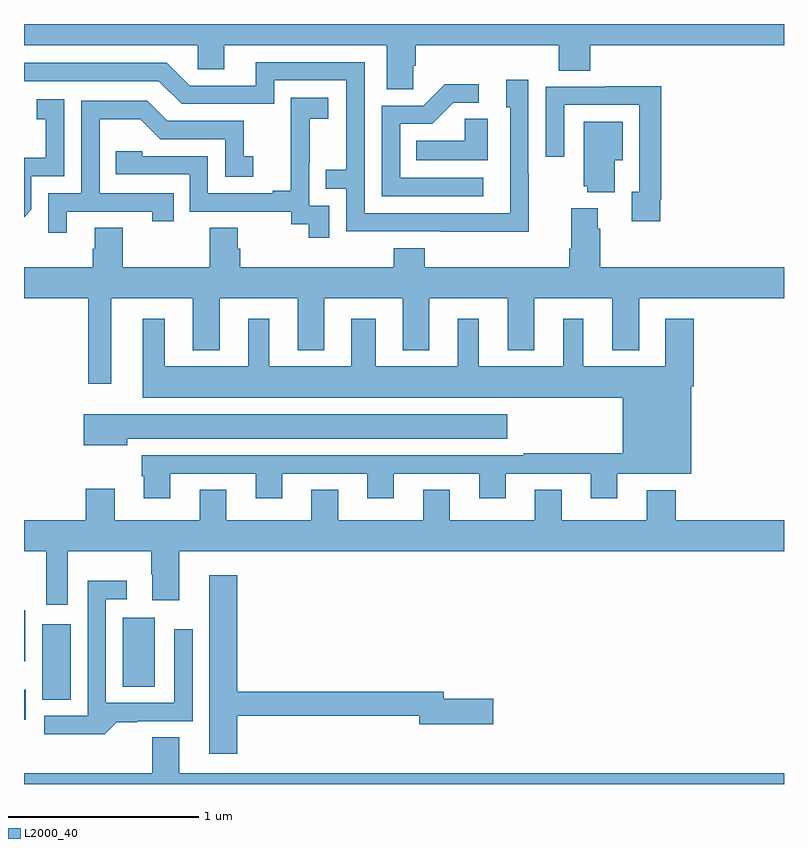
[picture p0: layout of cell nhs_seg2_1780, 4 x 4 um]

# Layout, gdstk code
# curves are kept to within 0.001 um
import gdstk
lib = gdstk.Library(unit=1e-6, precision=1e-09)
def R(c, l, rs):  # rectangles x0, y0, x1, y1
    for r in rs: c.add(gdstk.rectangle(r[:2], r[2:], *l))
def P(c, l, *ps):  # polygons
    for p in ps: c.add(gdstk.Polygon(p, *l))
L2000_40 = (2000, 40)

nhs_seg2_1780 = lib.new_cell('nhs_seg2_1780')
R(nhs_seg2_1780, L2000_40, [(205,592.139,205.009,592.297), (205.097,592.243,205.246,592.642), (205.52,592.312,205.687,592.675), (205,592.445,205.006,592.714)])
P(nhs_seg2_1780, L2000_40, [(207.048,595.579),(207.062,595.579),(207.062,595.688),(207.815,595.688),(207.815,595.555),(207.98,595.555),(207.98,595.688),(209,595.688),(209,595.8),(205,595.8),(205,595.688),(205.914,595.688),(205.914,595.561),(206.053,595.561),(206.053,595.688),(206.909,595.688),(206.909,595.456),(207.048,595.456)],
  [(207.657,595.013),(207.654,595.013),(207.654,595.507),(207.539,595.507),(207.539,595.362),(207.558,595.362),(207.558,594.804),(206.793,594.804),(206.793,595.599),(206.219,595.599),(206.219,595.476),(205.872,595.476),(205.752,595.596),(205,595.596),(205,595.5),(205.71,595.5),(205.83,595.38),(206.316,595.38),(206.316,595.503),(206.697,595.503),(206.697,595.034),(206.587,595.034),(206.587,594.933),(206.697,594.933),(206.697,594.708),(207.657,594.707)],
  [(207.418,594.99),(206.979,594.99),(206.979,595.275),(207.148,595.275),(207.259,595.386),(207.394,595.386),(207.394,595.484),(207.215,595.484),(207.102,595.371),(206.883,595.371),(206.883,594.894),(207.418,594.894)],
  [(208.348,594.874),(208.355,594.874),(208.355,595.472),(208.063,595.472),(208.063,595.47),(207.747,595.47),(207.747,595.101),(207.843,595.101),(207.843,595.374),(208.239,595.374),(208.239,594.918),(208.199,594.918),(208.199,594.762),(208.348,594.762)],
  [(206.607,594.843),(206.502,594.843),(206.502,595.073),(206.504,595.073),(206.504,595.301),(206.602,595.301),(206.602,595.411),(206.404,595.411),(206.404,595.205),(206.405,595.205),(206.405,594.922),(206.309,594.922),(206.309,594.909),(205.968,594.909),(205.968,595.104),(205.623,595.104),(205.623,595.131),(205.483,595.131),(205.483,595.008),(205.872,595.008),(205.872,594.813),(206.406,594.813),(206.406,594.745),(206.499,594.745),(206.499,594.675),(206.607,594.675)],
  [(205.038,594.822),(205.038,594.999),(205.212,594.999),(205.212,595.405),(205.066,595.405),(205.066,595.299),(205.115,595.299),(205.115,595.095),(205,595.095),(205,594.784)],
  [(205.225,594.813),(205.676,594.813),(205.676,594.762),(205.787,594.762),(205.787,594.909),(205.398,594.909),(205.398,595.298),(205.612,595.298),(205.716,595.194),(206.058,595.194),(206.058,594.996),(206.206,594.996),(206.206,595.105),(206.157,595.105),(206.157,595.29),(205.753,595.29),(205.648,595.395),(205.302,595.395),(205.302,594.909),(205.128,594.909),(205.128,594.702),(205.225,594.702)],
  [(207.442,595.301),(207.321,595.301),(207.321,595.186),(207.064,595.186),(207.064,595.082),(207.442,595.082)],
  [(208.108,595.082),(208.15,595.082),(208.15,595.285),(207.947,595.285),(207.947,594.945),(207.965,594.945),(207.965,594.914),(208.108,594.914)],
  [(205.459,594.356),(205.889,594.356),(205.889,594.083),(206.029,594.083),(206.029,594.356),(206.441,594.356),(206.441,594.083),(206.581,594.083),(206.581,594.356),(206.993,594.356),(206.993,594.083),(207.133,594.083),(207.133,594.356),(207.545,594.356),(207.545,594.083),(207.685,594.083),(207.685,594.356),(208.097,594.356),(208.097,594.083),(208.237,594.083),(208.237,594.356),(209,594.356),(209,594.52),(208.034,594.52),(208.034,594.722),(208.021,594.722),(208.021,594.829),(207.881,594.829),(207.881,594.616),(207.869,594.616),(207.869,594.52),(207.11,594.52),(207.11,594.619),(206.945,594.619),(206.945,594.52),(206.138,594.52),(206.138,594.618),(206.125,594.618),(206.125,594.728),(205.978,594.728),(205.978,594.52),(205.521,594.52),(205.521,594.728),(205.373,594.728),(205.373,594.618),(205.361,594.618),(205.361,594.52),(205,594.52),(205,594.356),(205.338,594.356),(205.338,593.907),(205.459,593.907)],
  [(205.771,593.433),(206.219,593.433),(206.219,593.304),(206.359,593.304),(206.359,593.433),(206.807,593.433),(206.807,593.304),(206.947,593.304),(206.947,593.433),(207.395,593.433),(207.395,593.304),(207.535,593.304),(207.535,593.433),(207.983,593.433),(207.983,593.304),(208.123,593.304),(208.123,593.432),(208.513,593.432),(208.513,593.894),(208.526,593.894),(208.526,594.25),(208.376,594.25),(208.376,593.998),(207.943,593.998),(207.943,594.25),(207.839,594.25),(207.839,593.998),(207.394,593.998),(207.394,594.25),(207.284,594.25),(207.284,593.998),(206.851,593.998),(206.851,594.25),(206.723,594.25),(206.723,593.998),(206.29,593.998),(206.29,594.25),(206.18,594.25),(206.18,593.998),(205.741,593.998),(205.741,594.25),(205.625,594.25),(205.625,593.834),(208.151,593.834),(208.151,593.542),(207.631,593.542),(207.631,593.529),(205.619,593.529),(205.619,593.421),(205.631,593.421),(205.631,593.304),(205.771,593.304)],
  [(205.543,593.618),(207.544,593.618),(207.544,593.746),(205.314,593.746),(205.314,593.582),(205.543,593.582)],
  [(205.231,593.024),(205.669,593.024),(205.669,592.904),(205.676,592.904),(205.676,592.767),(205.816,592.767),(205.816,593.024),(209,593.024),(209,593.188),(208.43,593.188),(208.43,593.347),(208.277,593.347),(208.277,593.188),(207.829,593.188),(207.829,593.348),(207.689,593.348),(207.689,593.188),(207.241,593.188),(207.241,593.348),(207.101,593.348),(207.101,593.188),(206.653,593.188),(206.653,593.348),(206.513,593.348),(206.513,593.188),(206.065,593.188),(206.065,593.348),(205.925,593.348),(205.925,593.188),(205.477,593.188),(205.477,593.353),(205.325,593.353),(205.325,593.188),(205,593.188),(205,593.024),(205.118,593.024),(205.118,592.743),(205.231,592.743)],
  [(206.123,592.158),(207.08,592.158),(207.08,592.115),(207.469,592.115),(207.469,592.25),(207.208,592.25),(207.208,592.286),(206.123,592.286),(206.123,592.9),(205.976,592.9),(205.976,591.96),(206.123,591.96)],
  [(205.489,592.126),(205.597,592.126),(205.597,592.131),(205.887,592.131),(205.887,592.615),(205.791,592.615),(205.791,592.227),(205.431,592.227),(205.431,592.773),(205.54,592.773),(205.54,592.87),(205.335,592.87),(205.335,592.158),(205.107,592.158),(205.107,592.061),(205.424,592.061)],
  [(209,591.856),(205.816,591.856),(205.816,592.046),(205.676,592.046),(205.676,591.856),(205,591.856),(205,591.8),(209,591.8)])

lib.write_gds('nhs_seg2_1780.gds')
